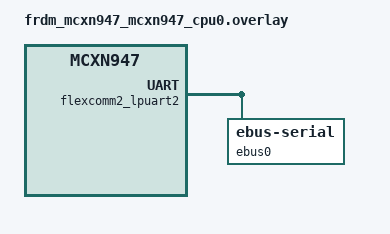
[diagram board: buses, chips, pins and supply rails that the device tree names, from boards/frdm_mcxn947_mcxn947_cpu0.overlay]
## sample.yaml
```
# This file is provided so that the application can be compiled using Twister,
# the Zephyr testing tool. In this file, multiple combinations can be specified,
# so that you can easily test all of them locally or in CI.
sample:
  description: First steps with an NXP board
  name: frdm-demo
common:
  build_only: true
  integration_platforms:
    - custom_plank
    - nucleo_f302r8
tests:
  app.default: {}
  app.debug:
    extra_overlay_confs:
      - debug.conf
```

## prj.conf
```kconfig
# SPDX-License-Identifier: Apache-2.0
#
# This file contains selected Kconfig options for the application.

CONFIG_LOG=y
CONFIG_APP_LOG_LEVEL_INF=y

CONFIG_EBUS=y
```

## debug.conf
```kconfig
# SPDX-License-Identifier: Apache-2.0

# This is a Kconfig fragment which can be used to enable debug-related options
# in the application. See the README for more details.

# compiler
CONFIG_DEBUG_OPTIMIZATIONS=y

# logging
CONFIG_LOG=y
CONFIG_APP_LOG_LEVEL_DBG=y
```

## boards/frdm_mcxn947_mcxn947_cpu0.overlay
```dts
/*
 * SPDX-License-Identifier: Apache-2.0
 */

/* Use the arduino header serial pins for the eBUS */
&flexcomm2_lpuart2 {
        status = "okay";

        ebus0 {
                compatible = "zephyr,ebus-serial";
                status = "okay";
        };
};
```

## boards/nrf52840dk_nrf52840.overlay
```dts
&pinctrl {
	uart1_default_alt: uart1_default_alt {
		group1 {
			psels = <NRF_PSEL(UART_TX, 0, 14)>,
					<NRF_PSEL(UART_RX, 0, 16)>;
		};
	};
	/* required if CONFIG_PM_DEVICE=y */
	uart1_sleep_alt: uart1_sleep_alt {
		group1 {
			psels = <NRF_PSEL(UART_TX, 0, 14)>,
					<NRF_PSEL(UART_RX, 0, 16)>;
			low-power-enable;
		};
	};
};

&uart1 {
	pinctrl-0 = <&uart1_default_alt>;
	/* if sleep state is not used, use /delete-property/ pinctrl-1; and
	 * skip the "sleep" entry.
	 */
	pinctrl-1 = <&uart1_sleep_alt>;
	pinctrl-names = "default", "sleep";
	status = "okay";
	ebus0 {
		compatible = "zephyr,ebus-serial";
		status = "okay";
	};
};
```

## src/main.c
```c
/*
 * SPDX-License-Identifier: Apache-2.0
 */

#include <zephyr/drivers/sensor.h>
#include <zephyr/ebus/ebus.h>
#include <zephyr/kernel.h>
#include <zephyr/logging/log.h>

#include <app_version.h>

LOG_MODULE_REGISTER(main, CONFIG_APP_LOG_LEVEL);

int main(void)
{
    int ret;
    LOG_INF("Zephyr Example Application %s", APP_VERSION_STRING);

    const char iface_name[] = {DEVICE_DT_NAME(DT_COMPAT_GET_ANY_STATUS_OKAY(zephyr_ebus_serial))};
    LOG_INF("ebus interface name: %s", iface_name);

    int iface = ebus_iface_get_by_name(iface_name);
    LOG_INF("ebus interface number: %d", iface);

    ret = ebus_init_client(iface);
    if (ret < 0) {
        LOG_ERR("Failed to initialize ebus client");
        return ret;
    }

    return 0;
}
```
